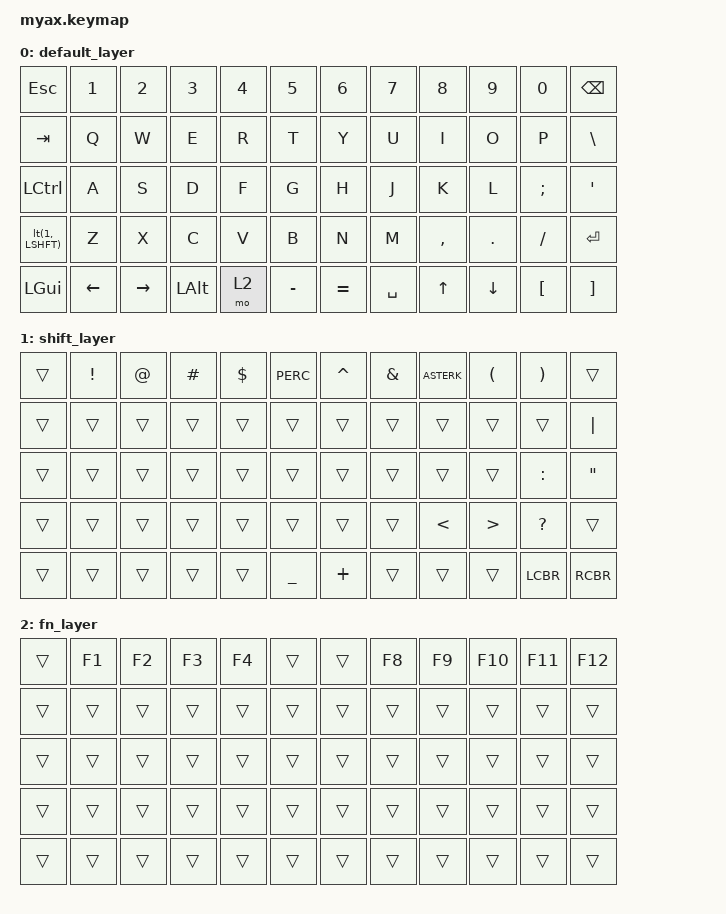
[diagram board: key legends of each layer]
#include <behaviors.dtsi>
#include <dt-bindings/zmk/keys.h>
#include <dt-bindings/zmk/bt.h>

/ {
    keymap {
        compatible = "zmk,keymap";

        default_layer {
            bindings = <
                &kp ESC     &kp N1      &kp N2     &kp N3     &kp N4     &kp N5     &kp N6     &kp N7     &kp N8     &kp N9     &kp N0      &kp BSPC
                &kp TAB     &kp Q       &kp W      &kp E      &kp R      &kp T      &kp Y      &kp U      &kp I      &kp O      &kp P       &kp BSLH
                &kp LCTRL   &kp A       &kp S      &kp D      &kp F      &kp G      &kp H      &kp J      &kp K      &kp L      &kp SCLN    &kp SQT
                &lt(1, LSHFT)  &kp Z       &kp X      &kp C      &kp V      &kp B      &kp N      &kp M      &kp COMMA  &kp DOT    &kp SLASH   &kp ENTER
                &kp LGUI    &kp LEFT    &kp RIGHT  &kp LALT   &mo 2      &kp MINUS  &kp EQUAL  &kp SPACE  &kp UP     &kp DOWN   &kp LBKT    &kp RBKT
            >;
        };

        shift_layer {
            bindings = <
                &trans      &kp EXCL    &kp AT     &kp HASH   &kp DLLR   &kp PERC   &kp CARET  &kp AMPS   &kp ASTERK &kp LPAR   &kp RPAR    &trans
                &trans      &trans      &trans     &trans     &trans     &trans     &trans     &trans     &trans     &trans     &trans      &kp PIPE
                &trans      &trans      &trans     &trans     &trans     &trans     &trans     &trans     &trans     &trans     &kp COLON   &kp DQT
                &trans      &trans      &trans     &trans     &trans     &trans     &trans     &trans     &kp LT     &kp GT     &kp QMARK   &trans
                &trans      &trans      &trans     &trans     &trans     &kp UNDERSCORE &kp PLUS &trans     &trans     &trans     &kp LCBR    &kp RCBR
            >;
        };

        fn_layer {
            bindings = <
                &trans      &kp F1      &kp F2     &kp F3     &kp F4     &trans     &trans     &kp F8     &kp F9     &kp F10    &kp F11     &kp F12
                &trans      &trans      &trans     &trans     &trans     &trans     &trans     &trans     &trans     &trans     &trans      &trans
                &trans      &trans      &trans     &trans     &trans     &trans     &trans     &trans     &trans     &trans     &trans      &trans
                &trans      &trans      &trans     &trans     &trans     &trans     &trans     &trans     &trans     &trans     &trans      &trans
                &trans      &trans      &trans     &trans     &trans     &trans     &trans     &trans     &trans     &trans     &trans      &trans
            >;
        };
    };
};
